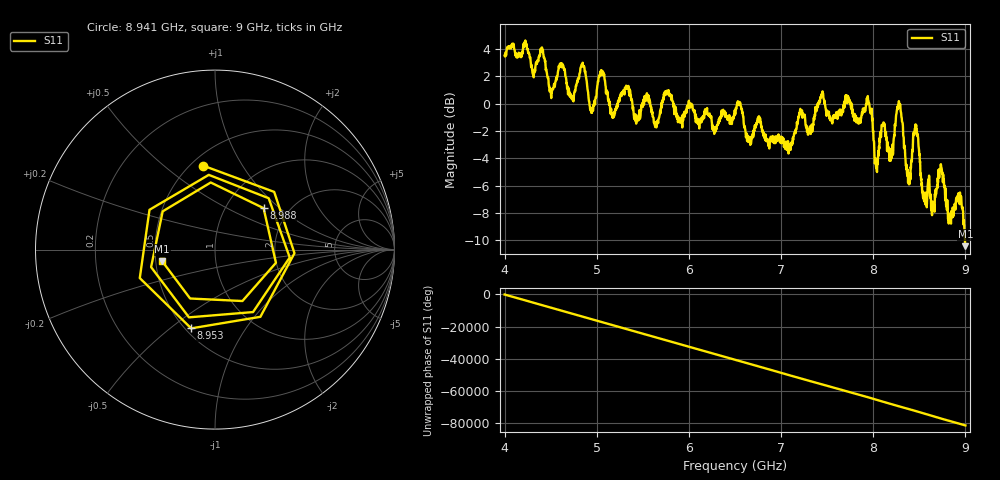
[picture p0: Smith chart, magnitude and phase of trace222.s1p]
! Created with skrf 1.8.0 (http://scikit-rf.org).
# Hz S RI R 50.0
!freq ReS11 ImS11
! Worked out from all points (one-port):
!   1601 points, 4 GHz to 9 GHz, reference 50 ohm
!   lowest |S11| = -10.4 dB at 9 GHz (marker M1), VSWR 1.86, Z = 27.1 - j3.86 ohm
!   |S11| at or under -10 dB: 8.995317 GHz to end of sweep
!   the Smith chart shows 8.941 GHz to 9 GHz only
!   S11 on the Smith chart (normalised r, x): 8.941 GHz: 0.57, +0.69; 8.953 GHz: 0.54, -0.59; 8.988 GHz: 1.49, +0.79; 9 GHz: 0.54, -0.08
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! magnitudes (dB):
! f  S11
! 4 GHz  3.5
! 4.406 GHz  4.1
! 4.506 GHz  0.4
! 4.625 GHz  2.9
! 4.728 GHz  0.3
! 4.85 GHz  2.8
! 4.947 GHz  -0.7
! 5.05 GHz  2.3
! 5.169 GHz  -1.0
! 5.25 GHz  0.4
! 5.875 GHz  -1.0
! 6.5 GHz  -0.8
! 7.125 GHz  -2.7
! 7.75 GHz  -0.1
! 7.956 GHz  0.0
! 8.038 GHz  -4.8
! 8.1 GHz  -1.6
! 8.197 GHz  -4.0
! 8.281 GHz  0.0
! 8.375 GHz  -4.8
! 8.459 GHz  -1.5
! 8.559 GHz  -7.2
! 8.731 GHz  -4.5
! 8.834 GHz  -8.7
! 8.941 GHz  -6.5
! 8.953 GHz  -6.8
! 8.988 GHz  -9.0
! 9 GHz  -10.4
